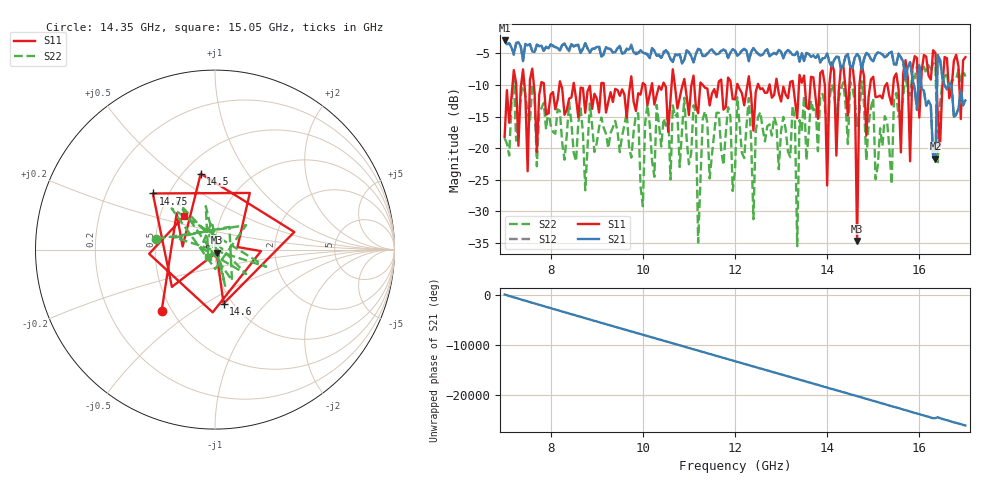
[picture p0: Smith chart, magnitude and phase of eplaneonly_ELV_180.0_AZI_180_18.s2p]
! 10/29/2026 5:17:46 PM
! C:\ANRITSUVNA\TEMP\TEMP.S2P
! CHANNEL.1
! TR.MEASUREMENT
! RAW.DATA
# HZ S RI R 50.0
! FREQ.HZ  S11RE  S11IM  S21RE  S21IM  S12RE  S12IM  S22RE  S22IM
!; PortSelection: Port_12
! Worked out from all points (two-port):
!   201 points, 7 GHz to 17 GHz, reference 50 ohm
!   highest |S21| = -2.95 dB at 7 GHz (marker M1); lowest = -21.7 dB at 16.35 GHz (marker M2)
!   |S21| within 3 dB of the highest: 7.403 GHz to 10.6 GHz (3.202 GHz wide, 35.6 % of centre); 11.12 GHz to 12.29 GHz (1.174 GHz wide, 10 % of centre) (the widest 2 of 16)
!   lowest |S11| = -34.7 dB at 14.65 GHz (marker M3), VSWR 1.04, Z = 50.9 - j1.65 ohm
!   |S11| at or under -10 dB: 7.853 GHz to 8.19 GHz (337.1 MHz wide, 4.2 % of centre); 8.507 GHz to 9.097 GHz (589.6 MHz wide, 6.7 % of centre); 9.153 GHz to 9.724 GHz (570.6 MHz wide, 6.05 % of centre) (the widest 3 of 39)
!   |S22| runs from -35.5 to -6.6 dB; largest |S21 - S12| = 0.31
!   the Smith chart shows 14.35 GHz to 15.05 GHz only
!   S11 on the Smith chart (normalised r, x): 14.35 GHz: 0.44, -0.38; 14.5 GHz: 0.61, +0.63; 14.6 GHz: 0.91, -0.60; 14.75 GHz: 0.41, +0.33; 15.05 GHz: 0.67, +0.27
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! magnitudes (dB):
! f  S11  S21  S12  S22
! 7 GHz  -18.2  -3.0  -3.0  -18.4
! 8.7 GHz  -10.5  -4.3  -4.2  -17.5
! 10.35 GHz  -10.2  -5.3  -5.2  -16.2
! 11.1 GHz  -8.5  -6.4  -6.4  -13.2
! 11.2 GHz  -14.5  -4.3  -4.3  -34.9
! 11.35 GHz  -10.4  -5.4  -5.4  -14.2
! 12 GHz  -12.3  -4.6  -4.6  -23.6
! 13.25 GHz  -9.3  -5.2  -5.3  -13.3
! 13.35 GHz  -15.2  -4.7  -4.7  -35.5
! 13.4 GHz  -8.4  -6.2  -6.3  -15.6
! 13.7 GHz  -8.8  -5.3  -5.4  -14.0
! 14 GHz  -25.9  -5.0  -5.0  -17.5
! 14.35 GHz  -6.9  -6.9  -6.8  -9.6
! 14.5 GHz  -7.3  -7.0  -7.0  -9.5
! 14.6 GHz  -10.3  -5.6  -5.6  -12.7
! 14.65 GHz  -34.7  -5.1  -5.1  -16.5
! 14.75 GHz  -6.6  -7.6  -7.5  -9.4
! 15.05 GHz  -11.9  -5.3  -5.3  -24.9
! 15.35 GHz  -11.8  -4.9  -4.9  -20.1
! 16.35 GHz  -4.9  -21.7  -21.8  -6.9
! 16.4 GHz  -14.6  -5.3  -5.3  -22.2
! 17 GHz  -5.6  -12.4  -12.4  -8.7
